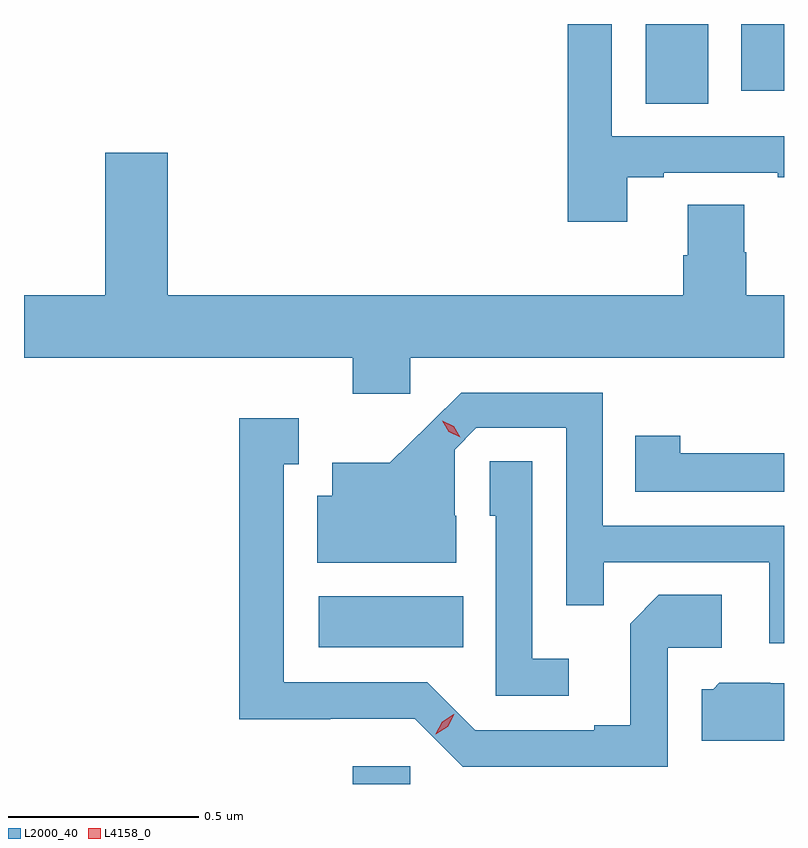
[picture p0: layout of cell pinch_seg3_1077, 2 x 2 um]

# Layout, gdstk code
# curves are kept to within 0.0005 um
import gdstk
lib = gdstk.Library(unit=1e-6, precision=1e-09)
def R(c, l, rs):  # rectangles x0, y0, x1, y1
    for r in rs: c.add(gdstk.rectangle(r[:2], r[2:], *l))
def P(c, l, *ps):  # polygons
    for p in ps: c.add(gdstk.Polygon(p, *l))
L2000_40 = (2000, 40)
L4158_0 = (4158, 0)

pinch_seg3_1077 = lib.new_cell('pinch_seg3_1077')
R(pinch_seg3_1077, L2000_40, [(333.491,710.45,333.642,710.497), (333.402,710.81,333.782,710.944), (334.262,712.24,334.426,712.45), (334.514,712.275,334.626,712.45)])
P(pinch_seg3_1077, L2000_40, [(334.213,712.047),(334.309,712.047),(334.309,712.059),(334.609,712.059),(334.609,712.047),(334.626,712.047),(334.626,712.155),(334.173,712.155),(334.173,712.45),(334.057,712.45),(334.057,711.93),(334.213,711.93)],
  [(333.642,711.572),(334.626,711.572),(334.626,711.736),(334.526,711.736),(334.526,711.849),(334.521,711.849),(334.521,711.974),(334.373,711.974),(334.373,711.842),(334.361,711.842),(334.361,711.736),(333.004,711.736),(333.004,712.111),(332.84,712.111),(332.84,711.736),(332.626,711.736),(332.626,711.572),(333.491,711.572),(333.491,711.477),(333.642,711.477)],
  [(334.626,711.129),(334.149,711.129),(334.149,711.48),(333.776,711.48),(333.589,711.295),(333.437,711.295),(333.437,711.208),(333.398,711.208),(333.398,711.032),(333.763,711.032),(333.763,711.156),(333.759,711.156),(333.759,711.33),(333.816,711.387),(334.053,711.387),(334.053,710.92),(334.151,710.92),(334.151,711.033),(334.587,711.033),(334.587,710.82),(334.626,710.82)],
  [(334.32,710.808),(334.462,710.808),(334.462,710.948),(334.297,710.948),(334.221,710.872),(334.221,710.605),(334.127,710.605),(334.127,710.592),(333.813,710.592),(333.687,710.718),(333.31,710.718),(333.31,711.291),(333.349,711.291),(333.349,711.412),(333.192,711.412),(333.192,710.621),(333.432,710.621),(333.432,710.622),(333.654,710.622),(333.78,710.496),(334.32,710.496)],
  [(334.626,711.32),(334.353,711.32),(334.353,711.367),(334.234,711.367),(334.234,711.219),(334.626,711.219)],
  [(334.06,710.779),(333.963,710.779),(333.963,711.299),(333.852,711.299),(333.852,711.156),(333.867,711.156),(333.867,710.682),(334.06,710.682)],
  [(334.626,710.715),(334.59,710.715),(334.59,710.716),(334.456,710.716),(334.44,710.7),(334.409,710.7),(334.409,710.564),(334.626,710.564)])
P(pinch_seg3_1077, L4158_0, [(333.774,711.362),(333.744,711.377),(333.726,711.406),(333.726,711.406),(333.726,711.406),(333.757,711.392),(333.774,711.362),(333.774,711.362)],
  [(333.709,710.581),(333.709,710.582),(333.726,710.614),(333.757,710.634),(333.758,710.634),(333.758,710.634),(333.741,710.601),(333.71,710.581)])

lib.write_gds('pinch_seg3_1077.gds')
